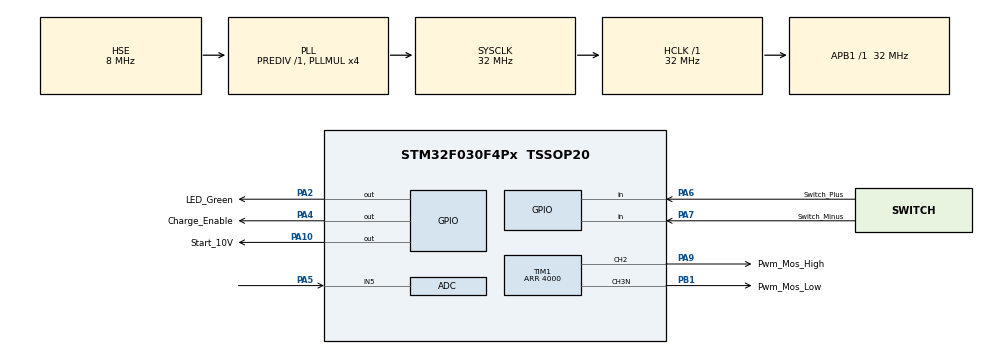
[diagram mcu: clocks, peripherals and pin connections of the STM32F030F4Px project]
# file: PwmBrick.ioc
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ADC.ClockPrescaler=ADC_CLOCK_SYNC_PCLK_DIV4
ADC.SamplingTime=ADC_SAMPLETIME_239CYCLES_5
Mcu.Family=STM32F0
Mcu.Name=STM32F030F4Px
Mcu.Package=TSSOP20
PA10.GPIO_Label=Start_10V
PA10.Signal=GPIO_Output
PA2.GPIO_Label=LED_Green
PA2.Signal=GPIO_Output
PA3.Signal=USART1_RX
PA4.GPIO_Label=Charge_Enable
PA4.Signal=GPIO_Output
PA5.Mode=IN5
PA5.Signal=ADC_IN5
PA6.GPIO_Label=Switch_Plus
PA6.Signal=GPIO_Input
PA7.GPIO_Label=Switch_Minus
PA7.Signal=GPIO_Input
PA9.GPIO_Label=Pwm_Mos_High
PA9.Signal=S_TIM1_CH2
PB1.GPIO_Label=Pwm_Mos_Low
PB1.Mode=PWM Generation3 CH3N
PB1.Signal=TIM1_CH3N
PF0-OSC_IN.Mode=HSE-External-Oscillator
PF0-OSC_IN.Signal=RCC_OSC_IN
PF1-OSC_OUT.Mode=HSE-External-Oscillator
PF1-OSC_OUT.Signal=RCC_OSC_OUT
ProjectManager.HeapSize=0x200
ProjectManager.StackSize=0x400
ProjectManager.TargetToolchain=STM32CubeIDE
RCC.AHBFreq_Value=32000000
RCC.APB1Freq_Value=32000000
RCC.APB1TimFreq_Value=32000000
RCC.HCLKFreq_Value=32000000
RCC.PLLMUL=RCC_PLL_MUL4
RCC.PLLSourceVirtual=RCC_PLLSOURCE_HSE
RCC.SYSCLKFreq_VALUE=32000000
RCC.SYSCLKSource=RCC_SYSCLKSOURCE_PLLCLK
SH.S_TIM1_CH2.0=TIM1_CH2,PWM Generation2 CH2
TIM1.AutoReloadPreload=TIM_AUTORELOAD_PRELOAD_DISABLE
TIM1.AutomaticOutput=TIM_AUTOMATICOUTPUT_ENABLE
TIM1.BreakState=TIM_BREAK_ENABLE
TIM1.Channel-PWM\ Generation2\ CH2=TIM_CHANNEL_2
TIM1.Channel-PWM\ Generation3\ CH3N=TIM_CHANNEL_3
TIM1.OCFastMode_PWM-PWM\ Generation3\ CH3N=TIM_OCFAST_DISABLE
TIM1.OCMode_PWM-PWM\ Generation2\ CH2=TIM_OCMODE_PWM1
TIM1.OCMode_PWM-PWM\ Generation3\ CH3N=TIM_OCMODE_PWM1
TIM1.OCNPolarity_3=TIM_OCNPOLARITY_HIGH
TIM1.OCPolarity_2=TIM_OCPOLARITY_HIGH
TIM1.OffStateRunMode=TIM_OSSR_DISABLE
TIM1.Period=4000
TIM1.Pulse-PWM\ Generation2\ CH2=0
TIM1.Pulse-PWM\ Generation3\ CH3N=0
VP_TIM1_VS_ClockSourceINT.Mode=Internal
board=custom

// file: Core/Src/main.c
/* USER CODE BEGIN Header */
/**
  ******************************************************************************
  * @file           : main.c
  * @brief          : Main program body
  ******************************************************************************
  * @attention
  *
  * <h2><center>&copy; Copyright (c) 2020 STMicroelectronics.
  * All rights reserved.</center></h2>
  *
  * This software component is licensed by ST under BSD 3-Clause license,
  * the "License"; You may not use this file except in compliance with the
  * License. You may obtain a copy of the License at:
  *                        opensource.org/licenses/BSD-3-Clause
  *
  ******************************************************************************
  */
/* USER CODE END Header */

#include "main.h"

/* USER CODE BEGIN Includes */
#include "uart.h"
#include "term.h"

/* USER CODE END Includes */

/* USER CODE BEGIN PD */

/* Battery-Voltage Measurement: Convert ADC-Digits to Voltage */
#define  DIG_VOLT  657u / 4095u

/* USER CODE END PD */

ADC_HandleTypeDef hadc;

TIM_HandleTypeDef htim1;

/* USER CODE BEGIN PV */
uint32_t state = 0u;					// State of the System

uint32_t tickTmp = 0u;				// Systick-Value from Last Input readings
uint32_t termTick = 0u;       // Number of 100ms ticks between since the last call of CycleTerm

uint32_t chgTick = 0u;				// Number of 100ms ticks the Up-Button is pressed
uint32_t chgModeChange = 0u;	// Remember, if charger mode was changed before

uint32_t upTmp = 0u;					// Last Position of Up-Button
uint32_t downTmp = 0u;				// Last Position of Down-Button

uint32_t flashCnt = 0u;				// Current number of LED-flashes within the blink-code

uint32_t usartEnable = 0u;    // Is USART1 started?
uint32_t usartDelay = 0u;     // Current Delay if USART isn't started yet (in multiples of 100ms)

uint32_t adcVal = 0u;					// Raw ADC-Value for Battery-Voltage (12-Bit)
uint32_t batVolt = 0u;        // Battery-Voltage from ADC in 0.01V
uint32_t recharge = 0u;       // 1=recharge state (Battery Voltage too low), 0=no recharge state

/* USER CODE END PV */

void SystemClock_Config(void);
static void MX_GPIO_Init(void);
static void MX_TIM1_Init(void);
static void MX_ADC_Init(void);
/* USER CODE BEGIN PFP */
static void InitUsart1Tx(void);
static void InitPWM(void);
static void CycleUpBtn(void);
static void CycleDownBtn(void);
static void CycleLedDisplay(void);
static void CycleAdc(void);
/* USER CODE END PFP */

int main(void)
{

  /* MCU Configuration--------------------------------------------------------*/

  /* Reset of all peripherals, Initializes the Flash interface and the Systick. */
  HAL_Init();

  /* Configure the system clock */
  SystemClock_Config();

  /* Initialize all configured peripherals */
  MX_GPIO_Init();
  MX_TIM1_Init();
  MX_ADC_Init();
  /* USER CODE BEGIN 2 */

  /* Initialize ADC-Periphal -> Channel 5 */
  //InitAdc();

  /* Additional Init-Code for the PWM with Deadtime */
  InitPWM();

  /* Start 10V-Regulator (For Mosfet Driver) */
  HAL_GPIO_WritePin(GPIOA, GPIO_PIN_10, GPIO_PIN_SET);

  /* USER CODE END 2 */

  /* Infinite loop */
  while (1)
  {

    /* USER CODE BEGIN 3 */

  	/*  Loop every 100ms */
  	if (HAL_GetTick() > tickTmp + 100u)
		{
			tickTmp = HAL_GetTick();

			/* Up-Button Handling */
			CycleUpBtn();

			/* Down-Button handling */
			CycleDownBtn();

			/* ADC-Handling (Get Battery-Voltage) */
			CycleAdc();

			/* Handle State-Changes for Battery-Undervoltage */
			if (batVolt > 0u)  /* Only check, if there has been a battery Voltage Measurement */
			{
				/* Voltage too low? => recharge state */
				if (recharge == 0u && batVolt < 340)
				{
					recharge = 1u;
				}
				/* If recharge state and battery voltage high enough => quit recharge state */
				else if (recharge == 1u && batVolt > 370)
				{
					recharge = 0u;
					state = 0u;
				}
			}

			/* No PWM in recharge state and 10x-Blink-Code */
			if (recharge == 0u)
			{
				/* Handle PWM-Duty */
				TIM1->CCR2 = state*595u;
				TIM1->CCR3 = state*595u;
			}
			else
			{
				TIM1->CCR2 = 0u;
				TIM1->CCR3 = 0u;
				state = 10u;
			}

			/* Enable USART after 10 seconds (no more programming possible, because SWCLK-Pin is used!) */
			if (usartEnable == 0u)
			{
				if (usartDelay < 100u)
				{
					usartDelay++;
				}
				else
				{
					usartEnable = 1u;
					InitUsart1Tx();
					InitUart();
				}
			}
			else
			{
				termTick++;
				if (termTick >= 2u)
				{
					termTick = 0u;
					CycleTerm();
				}
			}

	  	/* Display state as LED-blinking code */
			CycleLedDisplay();

		} /* 100ms */
  } /* while */

  /* USER CODE END 3 */
}

void SystemClock_Config(void)
{
  RCC_OscInitTypeDef RCC_OscInitStruct = {0};
  RCC_ClkInitTypeDef RCC_ClkInitStruct = {0};

  /** Initializes the CPU, AHB and APB busses clocks
  */
  RCC_OscInitStruct.OscillatorType = RCC_OSCILLATORTYPE_HSE;
  RCC_OscInitStruct.HSEState = RCC_HSE_ON;
  RCC_OscInitStruct.PLL.PLLState = RCC_PLL_ON;
  RCC_OscInitStruct.PLL.PLLSource = RCC_PLLSOURCE_HSE;
  RCC_OscInitStruct.PLL.PLLMUL = RCC_PLL_MUL4;
  RCC_OscInitStruct.PLL.PREDIV = RCC_PREDIV_DIV1;
  if (HAL_RCC_OscConfig(&RCC_OscInitStruct) != HAL_OK)
  {
    Error_Handler();
  }
  /** Initializes the CPU, AHB and APB busses clocks
  */
  RCC_ClkInitStruct.ClockType = RCC_CLOCKTYPE_HCLK|RCC_CLOCKTYPE_SYSCLK
                              |RCC_CLOCKTYPE_PCLK1;
  RCC_ClkInitStruct.SYSCLKSource = RCC_SYSCLKSOURCE_PLLCLK;
  RCC_ClkInitStruct.AHBCLKDivider = RCC_SYSCLK_DIV1;
  RCC_ClkInitStruct.APB1CLKDivider = RCC_HCLK_DIV1;

  if (HAL_RCC_ClockConfig(&RCC_ClkInitStruct, FLASH_LATENCY_1) != HAL_OK)
  {
    Error_Handler();
  }
}

static void MX_ADC_Init(void)
{

  ADC_ChannelConfTypeDef sConfig = {0};

  /** Configure the global features of the ADC (Clock, Resolution, Data Alignment and number of conversion)
  */
  hadc.Instance = ADC1;
  hadc.Init.ClockPrescaler = ADC_CLOCK_SYNC_PCLK_DIV4;
  hadc.Init.Resolution = ADC_RESOLUTION_12B;
  hadc.Init.DataAlign = ADC_DATAALIGN_RIGHT;
  hadc.Init.ScanConvMode = ADC_SCAN_DIRECTION_FORWARD;
  hadc.Init.EOCSelection = ADC_EOC_SINGLE_CONV;
  hadc.Init.LowPowerAutoWait = DISABLE;
  hadc.Init.LowPowerAutoPowerOff = DISABLE;
  hadc.Init.ContinuousConvMode = DISABLE;
  hadc.Init.DiscontinuousConvMode = DISABLE;
  hadc.Init.ExternalTrigConv = ADC_SOFTWARE_START;
  hadc.Init.ExternalTrigConvEdge = ADC_EXTERNALTRIGCONVEDGE_NONE;
  hadc.Init.DMAContinuousRequests = DISABLE;
  hadc.Init.Overrun = ADC_OVR_DATA_PRESERVED;
  if (HAL_ADC_Init(&hadc) != HAL_OK)
  {
    Error_Handler();
  }
  /** Configure for the selected ADC regular channel to be converted.
  */
  sConfig.Channel = ADC_CHANNEL_5;
  sConfig.Rank = ADC_RANK_CHANNEL_NUMBER;
  sConfig.SamplingTime = ADC_SAMPLETIME_239CYCLES_5;
  if (HAL_ADC_ConfigChannel(&hadc, &sConfig) != HAL_OK)
  {
    Error_Handler();
  }

}

static void MX_TIM1_Init(void)
{

  TIM_ClockConfigTypeDef sClockSourceConfig = {0};
  TIM_MasterConfigTypeDef sMasterConfig = {0};
  TIM_OC_InitTypeDef sConfigOC = {0};
  TIM_BreakDeadTimeConfigTypeDef sBreakDeadTimeConfig = {0};

  htim1.Instance = TIM1;
  htim1.Init.Prescaler = 0;
  htim1.Init.CounterMode = TIM_COUNTERMODE_UP;
  htim1.Init.Period = 4000;
  htim1.Init.ClockDivision = TIM_CLOCKDIVISION_DIV1;
  htim1.Init.RepetitionCounter = 0;
  htim1.Init.AutoReloadPreload = TIM_AUTORELOAD_PRELOAD_DISABLE;
  if (HAL_TIM_Base_Init(&htim1) != HAL_OK)
  {
    Error_Handler();
  }
  sClockSourceConfig.ClockSource = TIM_CLOCKSOURCE_INTERNAL;
  if (HAL_TIM_ConfigClockSource(&htim1, &sClockSourceConfig) != HAL_OK)
  {
    Error_Handler();
  }
  if (HAL_TIM_PWM_Init(&htim1) != HAL_OK)
  {
    Error_Handler();
  }
  sMasterConfig.MasterOutputTrigger = TIM_TRGO_RESET;
  sMasterConfig.MasterSlaveMode = TIM_MASTERSLAVEMODE_DISABLE;
  if (HAL_TIMEx_MasterConfigSynchronization(&htim1, &sMasterConfig) != HAL_OK)
  {
    Error_Handler();
  }
  sConfigOC.OCMode = TIM_OCMODE_PWM1;
  sConfigOC.Pulse = 0;
  sConfigOC.OCPolarity = TIM_OCPOLARITY_HIGH;
  sConfigOC.OCNPolarity = TIM_OCNPOLARITY_HIGH;
  sConfigOC.OCFastMode = TIM_OCFAST_DISABLE;
  sConfigOC.OCIdleState = TIM_OCIDLESTATE_RESET;
  sConfigOC.OCNIdleState = TIM_OCNIDLESTATE_RESET;
  if (HAL_TIM_PWM_ConfigChannel(&htim1, &sConfigOC, TIM_CHANNEL_2) != HAL_OK)
  {
    Error_Handler();
  }
  if (HAL_TIM_PWM_ConfigChannel(&htim1, &sConfigOC, TIM_CHANNEL_3) != HAL_OK)
  {
    Error_Handler();
  }
  sBreakDeadTimeConfig.OffStateRunMode = TIM_OSSR_DISABLE;
  sBreakDeadTimeConfig.OffStateIDLEMode = TIM_OSSI_DISABLE;
  sBreakDeadTimeConfig.LockLevel = TIM_LOCKLEVEL_OFF;
  sBreakDeadTimeConfig.DeadTime = 0;
  sBreakDeadTimeConfig.BreakState = TIM_BREAK_ENABLE;
  sBreakDeadTimeConfig.BreakPolarity = TIM_BREAKPOLARITY_HIGH;
  sBreakDeadTimeConfig.AutomaticOutput = TIM_AUTOMATICOUTPUT_ENABLE;
  if (HAL_TIMEx_ConfigBreakDeadTime(&htim1, &sBreakDeadTimeConfig) != HAL_OK)
  {
    Error_Handler();
  }
  HAL_TIM_MspPostInit(&htim1);

}

static void MX_GPIO_Init(void)
{
  GPIO_InitTypeDef GPIO_InitStruct = {0};

  /* GPIO Ports Clock Enable */
  __HAL_RCC_GPIOF_CLK_ENABLE();
  __HAL_RCC_GPIOA_CLK_ENABLE();
  __HAL_RCC_GPIOB_CLK_ENABLE();

  /*Configure GPIO pin Output Level */
  HAL_GPIO_WritePin(GPIOA, LED_Green_Pin|Charge_Enable_Pin|Start_10V_Pin, GPIO_PIN_RESET);

  /*Configure GPIO pins : LED_Green_Pin Charge_Enable_Pin Start_10V_Pin */
  GPIO_InitStruct.Pin = LED_Green_Pin|Charge_Enable_Pin|Start_10V_Pin;
  GPIO_InitStruct.Mode = GPIO_MODE_OUTPUT_PP;
  GPIO_InitStruct.Pull = GPIO_NOPULL;
  GPIO_InitStruct.Speed = GPIO_SPEED_FREQ_LOW;
  HAL_GPIO_Init(GPIOA, &GPIO_InitStruct);

  /*Configure GPIO pin : PA3 */
  GPIO_InitStruct.Pin = GPIO_PIN_3;
  GPIO_InitStruct.Mode = GPIO_MODE_AF_PP;
  GPIO_InitStruct.Pull = GPIO_NOPULL;
  GPIO_InitStruct.Speed = GPIO_SPEED_FREQ_HIGH;
  GPIO_InitStruct.Alternate = GPIO_AF1_USART1;
  HAL_GPIO_Init(GPIOA, &GPIO_InitStruct);

  /*Configure GPIO pins : Switch_Plus_Pin Switch_Minus_Pin */
  GPIO_InitStruct.Pin = Switch_Plus_Pin|Switch_Minus_Pin;
  GPIO_InitStruct.Mode = GPIO_MODE_INPUT;
  GPIO_InitStruct.Pull = GPIO_NOPULL;
  HAL_GPIO_Init(GPIOA, &GPIO_InitStruct);

}

/* USER CODE BEGIN 4 */

/*----------------------------------------------------------------------------*/
static void InitUsart1Tx(void)
{
  GPIO_InitTypeDef GPIO_InitStruct = {0};

  /*Configure GPIO pin : PA3 */
  GPIO_InitStruct.Pin = GPIO_PIN_14;
  GPIO_InitStruct.Mode = GPIO_MODE_AF_PP;
  GPIO_InitStruct.Pull = GPIO_NOPULL;
  GPIO_InitStruct.Speed = GPIO_SPEED_FREQ_HIGH;
  GPIO_InitStruct.Alternate = GPIO_AF1_USART1;
  HAL_GPIO_Init(GPIOA, &GPIO_InitStruct);

}

/*----------------------------------------------------------------------------*/
static void InitPWM(void)
{
  /* Komplementären Ausgang von Channel 3 und Channel 2 aktivieren, wird von der Library nicht gemacht! */
  /* Der negative Ausgang von Channel 2 muss auch aktiviert werden, damit die Totzeit dort wirksam wird */
  TIM_CCxChannelCmd(TIM1, TIM_CHANNEL_3, TIM_CCxN_ENABLE);
  TIM_CCxChannelCmd(TIM1, TIM_CHANNEL_2, TIM_CCxN_ENABLE);

  /* Konfiguration der Verriegelungszeit nochmal durchführen. Code-Generierung kann nur Deadtime = 0 generieren... */
  TIM_BreakDeadTimeConfigTypeDef sBreakDeadTimeConfig = {0};
  sBreakDeadTimeConfig.OffStateRunMode = TIM_OSSR_DISABLE;
  sBreakDeadTimeConfig.OffStateIDLEMode = TIM_OSSI_DISABLE;
  sBreakDeadTimeConfig.LockLevel = TIM_LOCKLEVEL_OFF;
  sBreakDeadTimeConfig.DeadTime = 5;
  sBreakDeadTimeConfig.BreakState = TIM_BREAK_ENABLE;
  sBreakDeadTimeConfig.BreakPolarity = TIM_BREAKPOLARITY_HIGH;
  sBreakDeadTimeConfig.AutomaticOutput = TIM_AUTOMATICOUTPUT_ENABLE;
  HAL_TIMEx_ConfigBreakDeadTime(&htim1, &sBreakDeadTimeConfig);

  /* Start PWM */
  HAL_TIM_PWM_Start(&htim1, TIM_CHANNEL_2);
  HAL_TIM_PWM_Start(&htim1, TIM_CHANNEL_3);
}

/*----------------------------------------------------------------------------*/
static void CycleUpBtn (void)
{
	// Up-Button handling
	if (upTmp == 0u)
	{
		// If Up-Button wasn't pressed before and is pressed now => change upTmp
		if (HAL_GPIO_ReadPin(GPIOA, Switch_Plus_Pin) == GPIO_PIN_RESET)
		{
			upTmp = 1u;
		}
	}
	else  // Button was pressed before
	{
		// If Up-Button was pressed and is'nt pressed now => change state
		if (HAL_GPIO_ReadPin(GPIOA, Switch_Plus_Pin) == GPIO_PIN_SET)
		{
			if (chgModeChange == 0u)  // Only handle state changes when charge mode is not changed
			{
				// If Up-Button is now pressed and wasn't pressed before => next state and remember it is pressed
				upTmp = 0u;
				// Next state and overflow handling
				if (state <= 3u)
				{
					state++;
				}
				else
				{
					state = 4u;
				}
			}
			else
			{
				upTmp = 0u;
				chgModeChange = 0u;
			}
		}
		// Up-Button is still pressed
		else
		{
			chgTick++;
			// If Up-Button is pressed for 2 seconds => Toggle Charge mode
			if (chgTick > 20u)
			{
				chgTick = 0u;
				chgModeChange = 1u;
				HAL_GPIO_TogglePin(GPIOA, GPIO_PIN_4);
			}
		}
	}
}

/*----------------------------------------------------------------------------*/
static void CycleDownBtn (void)
{
	if (downTmp == 0u)
	{
		// If Down-Button is now pressed and wasn't pressed before => next state and remember it is pressed
		if (HAL_GPIO_ReadPin(GPIOA, Switch_Minus_Pin) == GPIO_PIN_RESET)
		{
			downTmp = 1u;
			// Next state and overflow handling
			if (state >= 1u)
			{
				state--;
			}
			else
			{
				state = 0u;
			}
		}
	}
	else
	{
		// If Down-Button is not pressed and was pressed before => just remember it isn't pressed
		if (HAL_GPIO_ReadPin(GPIOA, Switch_Plus_Pin) == GPIO_PIN_SET)
		{
			downTmp = 0u;
		}
	}
}

/*----------------------------------------------------------------------------*/
static void CycleLedDisplay (void)
{
	if (state == 0u)
	{
		flashCnt = 0u;
		HAL_GPIO_WritePin(GPIOA, LED_Green_Pin, GPIO_PIN_RESET);
	}
	else
	{
		if (flashCnt >= 100u)  // long off-interval
		{
			flashCnt++;
			if (flashCnt > 105u) { flashCnt = 0u; }
		}
		else  // Blink-code
		{
			flashCnt++;
			HAL_GPIO_TogglePin(GPIOA, LED_Green_Pin);
			if (flashCnt >= 2u*state)
			{
				flashCnt = 100u;  // Start long off-interval
			}
		}
	} // LED-blinking code
}

/*----------------------------------------------------------------------------*/
static void CycleAdc (void)
{
	HAL_ADC_Start(&hadc);
	HAL_ADC_PollForConversion(&hadc, 5u);
	adcVal = HAL_ADC_GetValue(&hadc);
	HAL_ADC_Stop(&hadc);
	batVolt = adcVal * DIG_VOLT;
}

/*----------------------------------------------------------------------------*/

/* USER CODE END 4 */

void Error_Handler(void)
{
}

/************************ (C) COPYRIGHT STMicroelectronics *****END OF FILE****/
